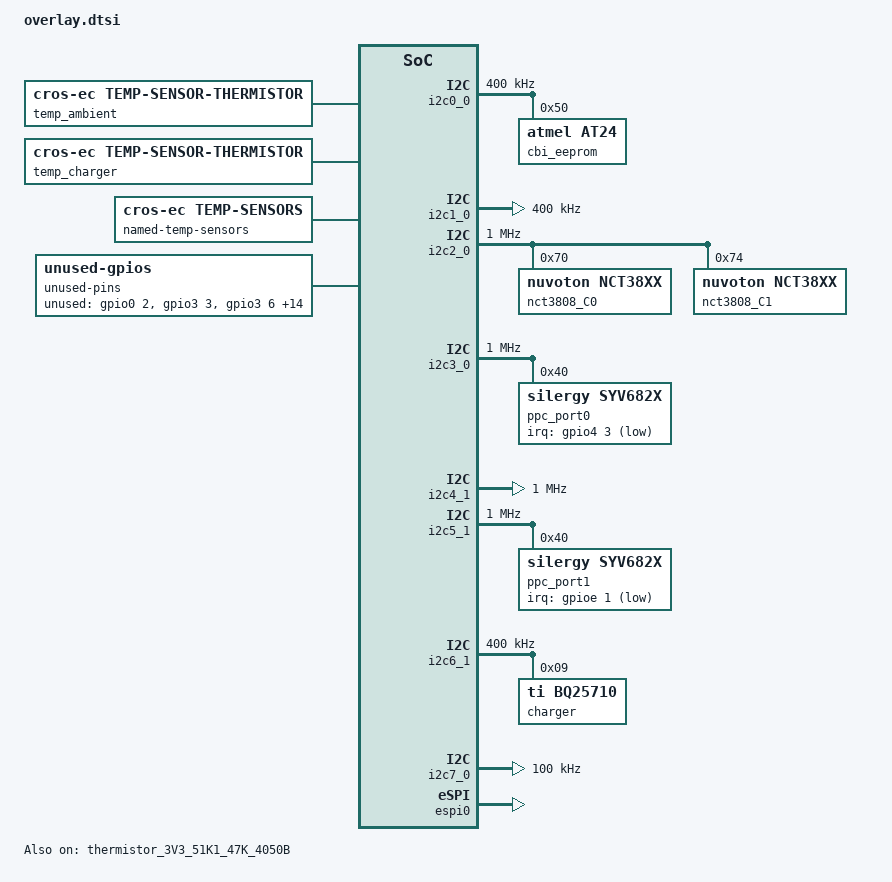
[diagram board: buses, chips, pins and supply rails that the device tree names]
/* Copyright 2024 The ChromiumOS Authors
 * Use of this source code is governed by a BSD-style license that can be
 * found in the LICENSE file.
 */

#include <cros/thermistor/thermistor.dtsi>
#include <dt-bindings/usbc_mux.h>
#include <dt-bindings/usb_pd_tcpm.h>

/ {
	aliases {
		gpio-cbi-wp = &gpio_ec_cbi_wp;
		gpio-wp = &gpio_ec_wp_odl;
		int-wp = &int_wp_l;
		gpio-kbd-kso2 = &gpio_ec_kso_02_inv;
	};

	ec-console {
		compatible = "ec-console";
		disabled = "events", "lpc", "hostcmd";
	};

	batteries {
		default_battery: pc_vp_bp162 {
			compatible = "smp,pc-vp-bp162", "battery-smart";
		};
		smp_cosmx_pc-vp-bp162 {
			compatible = "smp,cosmx_pc-vp-bp162", "battery-smart";
		};
		smp_byd_pc-vp-bp162 {
			compatible = "smp,byd_pc-vp-bp162", "battery-smart";
		};
	};

	gpio-interrupts {
		compatible = "cros-ec,gpio-interrupts";

		int_ac_present: ac_present {
			irq-pin = <&acok_od>;
			flags = <GPIO_INT_EDGE_BOTH>;
			handler = "extpower_interrupt";
		};
		int_power_button: power_button {
			irq-pin = <&gpio_ec_pwr_btn_odl>;
			flags = <GPIO_INT_EDGE_BOTH>;
			handler = "power_button_interrupt";
		};
		int_wp_l: wp_l {
			irq-pin = <&gpio_ec_wp_odl>;
			flags = <GPIO_INT_EDGE_BOTH>;
			handler = "switch_interrupt";
		};
		int_lid_open: lid_open {
			irq-pin = <&gpio_lid_open>;
			flags = <GPIO_INT_EDGE_BOTH>;
			handler = "lid_interrupt";
		};
		int_tablet_mode: tablet_mode {
			irq-pin = <&gpio_tablet_mode_l>;
			flags = <GPIO_INT_EDGE_BOTH>;
			handler = "gmr_tablet_switch_isr";
		};
		int_imu: ec_imu {
			irq-pin = <&gpio_imu_int_l>;
			flags = <GPIO_INT_EDGE_FALLING>;
			handler = "lsm6dso_interrupt";
		};
		int_vol_down: vol_down {
			irq-pin = <&gpio_voldn_btn_odl>;
			flags = <GPIO_INT_EDGE_BOTH>;
			handler = "button_interrupt";
		};
		int_vol_up: vol_up {
			irq-pin = <&gpio_volup_btn_odl>;
			flags = <GPIO_INT_EDGE_BOTH>;
			handler = "button_interrupt";
		};
	};

	named-gpios {
		gpio_led_1_odl: led_1_odl {
			gpios = <&gpioc 4 GPIO_OUTPUT_LOW>;
		};
		gpio_led_2_odl: led_2_odl {
			gpios = <&gpioc 3 GPIO_OUTPUT_LOW>;
		};
	};
	temp_memory: memory {
		compatible = "cros-ec,temp-sensor-thermistor";
		thermistor = <&thermistor_3V3_51K1_47K_4050B>;
		adc = <&adc_temp_sensor_1>;
	};
	temp_ambient: ambient {
		compatible = "cros-ec,temp-sensor-thermistor";
		thermistor = <&thermistor_3V3_51K1_47K_4050B>;
		adc = <&adc_temp_sensor_2>;
	};
	temp_charger: charger {
		compatible = "cros-ec,temp-sensor-thermistor";
		thermistor = <&thermistor_3V3_51K1_47K_4050B>;
		adc = <&adc_temp_sensor_3>;
	};

	named-temp-sensors {
		compatible = "cros-ec,temp-sensors";
		memory {
			temp_host_high = <85>;
			temp_host_halt = <90>;
			temp_host_release_high = <80>;
			power-good-pin = <&gpio_ec_soc_dsw_pwrok>;
			sensor = <&temp_memory>;
		};
		charger {
			temp_host_high = <85>;
			temp_host_halt = <90>;
			temp_host_release_high = <80>;
			power-good-pin = <&gpio_ec_soc_dsw_pwrok>;
			sensor = <&temp_charger>;
		};
		ambient {
			temp_host_high = <85>;
			temp_host_halt = <90>;
			temp_host_release_high = <80>;
			power-good-pin = <&gpio_ec_soc_dsw_pwrok>;
			sensor = <&temp_ambient>;
		};
	};

	usbc {
		#address-cells = <1>;
		#size-cells = <0>;

		port0@0 {
			compatible = "named-usbc-port";
			reg = <0>;
			chg = <&charger>;
			tcpc = <&tcpc_port0>;
			ppc = <&ppc_port0>;
			usb-mux-chain-0 {
				compatible = "cros-ec,usb-mux-chain";
				usb-muxes = <&virtual_mux_0>;
			};
		};
		port0-muxes {
			virtual_mux_0: virtual-mux-0 {
				compatible = "cros-ec,usbc-mux-virtual";
			};
		};
		/*
		 * TODO(b:211693800): port1 may not be present on some
		 * sub-boards.
		 */
		port1@1 {
			compatible = "named-usbc-port";
			reg = <1>;
			tcpc = <&tcpc_port1>;
			ppc = <&ppc_port1>;
			usb-mux-chain-1 {
				compatible = "cros-ec,usb-mux-chain";
				usb-muxes = <&virtual_mux_1>;
			};
		};
		port1-muxes {
			virtual_mux_1: virtual-mux-1 {
				compatible = "cros-ec,usbc-mux-virtual";
			};
		};
	};

	 /*
	  * Declare unused GPIOs so that they are shut down
	  * and use minimal power
	  */
	  unused-pins {
		compatible = "unused-gpios";
		unused-gpios =
			<&gpio0 2 0>,
			<&gpio3 3 0>,
			<&gpio3 6 0>,
			<&gpio5 7 0>,
			<&gpio6 0 0>,
			<&gpio8 1 0>,
			<&gpio8 6 0>,
			<&gpioa 0 0>,
			<&gpioc 0 0>,
			<&gpioc 2 0>,
			<&gpioc 7 0>,
			<&gpiod 4 0>,
			<&gpiod 5 0>,
			<&gpiod 7 0>,
			<&gpio0 4 0>,
			<&gpio8 2 0>,
			<&gpioe 2 0>;
	 };
};

&thermistor_3V3_51K1_47K_4050B {
	status = "okay";
};

&adc_ec_vsense_pp3300_s5 {
	/*
	 * Voltage divider on input has 47k upper and 220k lower legs with
	 * 2714 mV full-scale reading on the ADC. Apply the largest possible
	 * multiplier (without overflowing int32) to get the best possible
	 * approximation of the actual ratio, but derate by a factor of two to
	 * ensure unexpectedly high values won't overflow.
	 */
	mul = <(791261 / 2)>;
	div = <(651975 / 2)>;
};

/* Set bus speeds for I2C */
&i2c0_0 {
	label = "I2C_EEPROM";
	clock-frequency = <I2C_BITRATE_FAST>;

	cbi_eeprom: eeprom@50 {
		compatible = "atmel,at24";
		reg = <0x50>;
		size = <2048>;
		pagesize = <16>;
		address-width = <8>;
		timeout = <5>;
	};
};

&i2c1_0 {
	label = "I2C_SENSOR";
	clock-frequency = <I2C_BITRATE_FAST>;
};

&i2c2_0 {
	label = "I2C_USB_C0_C1_TCPC";
	clock-frequency = <I2C_BITRATE_FAST_PLUS>;

	nct3808_C0: nct38xx@70 {
		compatible = "nuvoton,nct38xx";
		reg = <0x70>;

		tcpc_port0: nct38xx-tcpc {
			compatible = "nuvoton,nct38xx-tcpc";
			gpio-dev = <&nct38xx_gpio_C0>;
			tcpc-flags = <(
				TCPC_FLAGS_TCPCI_REV2_0 |
				TCPC_FLAGS_NO_DEBUG_ACC_CONTROL)>;
			/* a duplicate of the <&gpio_usb_c0_tcpc_int_odl> node
			 * in"named-gpios". This is the Zephyr preferred style,
			 * the "named-gpios" node will be dealt with at a later
			 * date.
			 */
			irq-gpios = <&gpiob 7 GPIO_ACTIVE_LOW>;
			/* a duplicate of the <&gpio_usb_c0_tcpc_rst_l> node in
			 * "named-gpios". This is the Zephyr preferred style,
			 * the "named-gpios" node will be dealt with at a later
			 * date.
			 */
			rst-gpios = <&gpio7 3
				(GPIO_OPEN_DRAIN | GPIO_ACTIVE_LOW)>;
		};

		nct38xx_gpio_C0: nct38xx-gpio {
			#address-cells = <1>;
			#size-cells = <0>;
			compatible = "nuvoton,nct38xx-gpio";
			label = "NCT3808_C0";

			ioex_c0_port0: gpio@0 {
				compatible = "nuvoton,nct38xx-gpio-port";
				reg = <0x0>;
				label = "NCT3808_C0_GPIO0";
				gpio-controller;
				#gpio-cells = <2>;
				ngpios = <8>;
				pin_mask = <0xdc>;
				pinmux_mask = <0xff>;
			};
		};
	};
	nct3808_C1: nct38xx@74 {
		compatible = "nuvoton,nct38xx";
		reg = <0x74>;

		tcpc_port1: nct38xx-tcpc {
			compatible = "nuvoton,nct38xx-tcpc";
			gpio-dev = <&nct38xx_gpio_C1>;
			tcpc-flags = <(TCPC_FLAGS_TCPCI_REV2_0)>;
			/* a duplicate of the <&gpio_usb_c0_tcpc_int_odl> node
			 * in"named-gpios". This is the Zephyr preferred style,
			 * the "named-gpios" node will be dealt with at a later
			 * date.
			 */
			irq-gpios = <&gpiob 7 GPIO_ACTIVE_LOW>;
			/* a duplicate of the <&gpio_usb_c0_tcpc_rst_l> node in
			 * "named-gpios". This is the Zephyr preferred style,
			 * the "named-gpios" node will be dealt with at a later
			 * date.
			 */
			rst-gpios = <&gpio7 3
				(GPIO_OPEN_DRAIN | GPIO_ACTIVE_LOW)>;
		};

		nct38xx_gpio_C1: nct38xx-gpio {
			#address-cells = <1>;
			#size-cells = <0>;
			compatible = "nuvoton,nct38xx-gpio";
			label = "NCT3808_C1";

			ioex_c1_port0: gpio@0 {
				compatible = "nuvoton,nct38xx-gpio-port";
				reg = <0x0>;
				label = "NCT3808_C1_GPIO0";
				gpio-controller;
				#gpio-cells = <2>;
				ngpios = <8>;
				pin_mask = <0xdc>;
				pinmux_mask = <0xff>;
			};
		};
	};
};

&i2c3_0 {
	label = "I2C_USB_C0";
	clock-frequency = <I2C_BITRATE_FAST_PLUS>;

	ppc_port0: ppc_syv@40 {
		compatible = "silergy,syv682x";
		status = "okay";
		reg = <0x40>;

		/* a duplicate of the <&gpio_usb_c0_ppc_int_odl> node in
		 * "named-gpios". This is the Zephyr preferred style,
		 * the "named-gpios" node will be dealt with at a later date.
		 */
		irq-gpios = <&gpio4 3 GPIO_ACTIVE_LOW>;
	};
};

&i2c4_1 {
	label = "I2C_USB_C1_TCPC";
	clock-frequency = <I2C_BITRATE_FAST_PLUS>;

	status = "okay";
};

&i2c5_1 {
	label = "I2C_USB_C1";
	clock-frequency = <I2C_BITRATE_FAST_PLUS>;

	ppc_port1: ppc_syv@40 {
		compatible = "silergy,syv682x";
		status = "okay";
		reg = <0x40>;
		/* a duplicate of the <&gpio_usb_c1_ppc_int_odl> node in
		 * "named-gpios". This is the Zephyr preferred style,
		 * the "named-gpios" node will be dealt with at a later date.
		 */
		irq-gpios = <&gpioe 1 GPIO_ACTIVE_LOW>;
	};
};

&i2c6_1 {
	label = "I2C_CHARGER";
	clock-frequency = <I2C_BITRATE_FAST>;

	charger: bq25710@9 {
		compatible = "ti,bq25710";
		status = "okay";
		reg = <0x9>;
	};
};

&i2c7_0 {
	label = "I2C_BATTERY";
	clock-frequency = <I2C_BITRATE_STANDARD>;
};

/* host interface */
&espi0 {
	status = "okay";
	pinctrl-0 = <&espi_lpc_gp46_47_51_52_53_54_55_57>;
	pinctrl-names = "default";
};

/*
 * Declare GPIOs that have leakage current caused by board issues here. NPCX ec
 * will disable their input buffers before entering deep sleep and restore them
 * after waking up automatically for better power consumption.
 */
&power_leakage_io {
	leak-gpios = <&gpioa 4 GPIO_OPEN_DRAIN
		      &gpiof 1 GPIO_OPEN_DRAIN>;
};
